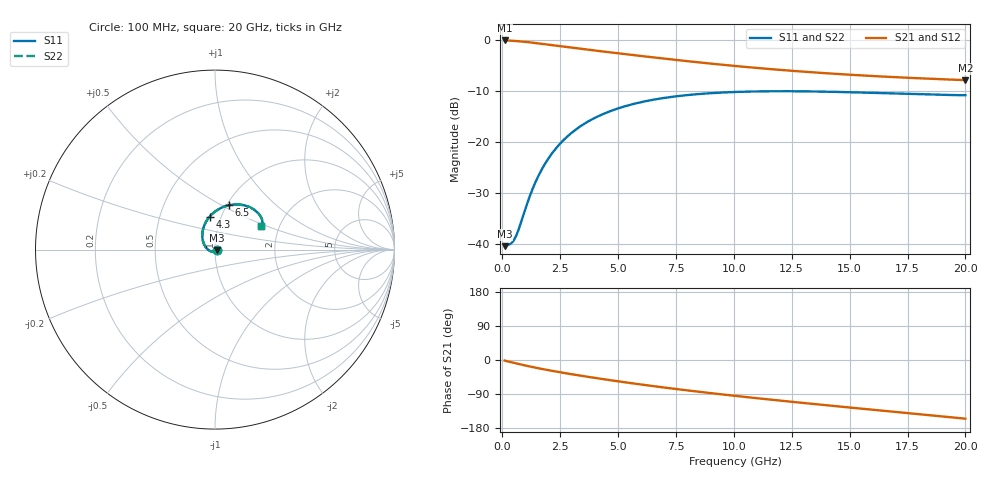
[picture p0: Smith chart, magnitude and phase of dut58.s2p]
! Touchstone file exported from HFSS 2024.1.0
!  File:  C:/UserFiles/LocalFiles/RDL_TSV_Batchsim/temp_RDL_TSV_58_1779408522.aedt
!  Generated:  08:23:07 AM May 22, 2026
!  Design:  RDL_TSV
!  Project:  temp_RDL_TSV_58_1779408522
!  Setup:  Setup1
!  Solution:  Sweep
! Variables:
!  dtsv = 10.76um
!  hbump = 3um
!  htsv = 78.15um
!  ldown = 479.15um
!  lrdl = 144.71um
!  p = 40
!  p1 = 58.73um
!  rhole = 10um
!  subl = 2016.29um
!  t = 450um
!  tdown = 3.32um
!  trdl = 3.58um
!  viad = 10um
!  wdown = 27.8um
!  wrdl = 18.54um
!  xbump = 18um
# GHz S MA R 50.000000
! Terminal data exported
! Port[1] = TM1_1_T1
! Port[2] = TM1_4_T1
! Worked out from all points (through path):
!   200 points, 100 MHz to 20 GHz, reference 50 ohm
!   highest |S21| = -0.09 dB at 100 MHz (marker M1); lowest = -7.9 dB at 20 GHz (marker M2)
!   group delay of S21, straight-line fit = 20.1 ps
!   lowest |S11| = -40.4 dB at 100 MHz (marker M3), VSWR 1.02, Z = 50.9 - j0.212 ohm
!   |S11| at or under -10 dB: start of sweep to end of sweep
!   |S22| runs from -40.4 to -10.0 dB; largest |S21 - S12| = 9.1e-15
!   S11 on the Smith chart (normalised r, x): 100 MHz: 1.02, -0.00; 4.3 GHz: 0.88, +0.33; 6.5 GHz: 1.02, +0.54; 20 GHz: 1.60, +0.47
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0.1  0.009517 -12.6  0.99 -1.6  0.99 -1.6  0.009517 -12.6
! Gamma 0 0 0 0
! Port Impedance 50 0 50 0
0.4  0.01021 -59.6  0.9837 -6.1  0.9837 -6.1  0.01021 -59.7
0.6  0.01204 -95.5  0.977 -9.0  0.977 -9.0  0.01204 -95.5
0.7  0.01377 -111.9  0.973 -10.4  0.973 -10.4  0.01377 -111.9
1.1  0.02591 -158.3  0.9532 -15.9  0.9532 -15.9  0.02593 -158.3
1.3  0.03426 -173.1  0.9419 -18.5  0.9419 -18.5  0.03428 -173.1
1.6  0.04851 169.9  0.9238 -22.3  0.9238 -22.3  0.04854 169.9
1.9  0.06404 156.8  0.9054 -25.8  0.9054 -25.8  0.06409 156.8
2.2  0.08021 146.0  0.8871 -29.2  0.8871 -29.2  0.08027 146.0
2.6  0.102 134.0  0.8634 -33.5  0.8634 -33.5  0.1021 134.0
3  0.1234 123.9  0.8408 -37.6  0.8408 -37.6  0.1235 124.0
3.5  0.1488 113.3  0.814 -42.5  0.814 -42.5  0.149 113.3
4.3  0.1857 99.4  0.7738 -50.0  0.7738 -50.0  0.1859 99.4
5.3  0.2241 85.6  0.7273 -58.9  0.7273 -58.9  0.2243 85.6
6.5  0.2592 72.6  0.6764 -68.8  0.6764 -68.8  0.2595 72.6
6.8  0.2662 69.8  0.6645 -71.2  0.6645 -71.2  0.2666 69.8
8.4  0.2942 57.2  0.6065 -83.2  0.6065 -83.2  0.2946 57.2
10.1  0.3095 47.2  0.5552 -94.9  0.5552 -94.9  0.31 47.2
11.7  0.3145 40.1  0.5158 -105.3  0.5158 -105.3  0.315 40.1
13.4  0.313 34.5  0.4821 -115.8  0.4821 -115.8  0.3136 34.5
16.7  0.3 28.4  0.4351 -135.4  0.4351 -135.4  0.3008 28.4
20  0.2872 27.7  0.4043 -154.8  0.4043 -154.8  0.288 27.7
